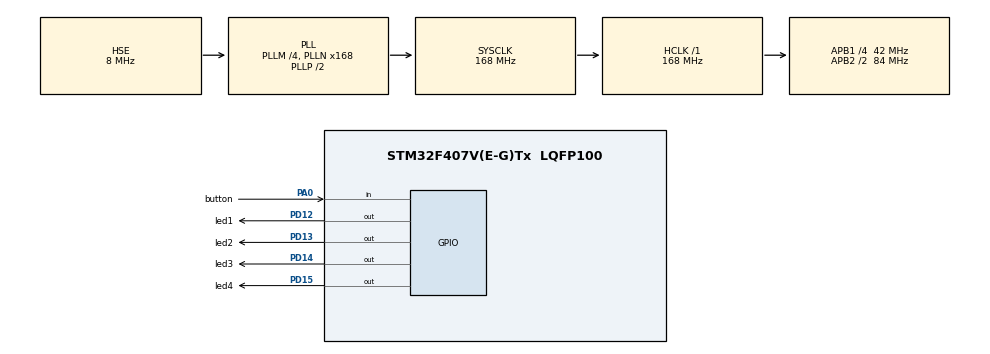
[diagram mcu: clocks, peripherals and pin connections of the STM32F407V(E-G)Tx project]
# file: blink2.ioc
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Mcu.Family=STM32F4
Mcu.Name=STM32F407V(E-G)Tx
Mcu.Package=LQFP100
NVIC.PriorityGroup=NVIC_PRIORITYGROUP_4
PA0-WKUP.GPIO_Label=button
PA0-WKUP.GPIO_PuPd=GPIO_PULLDOWN
PA0-WKUP.Signal=GPIO_Input
PA13.Mode=Serial_Wire
PA13.Signal=SYS_JTMS-SWDIO
PA14.Mode=Serial_Wire
PA14.Signal=SYS_JTCK-SWCLK
PD12.GPIO_Label=led1
PD12.GPIO_Speed=GPIO_SPEED_FREQ_VERY_HIGH
PD12.Signal=GPIO_Output
PD13.GPIO_Label=led2
PD13.GPIO_Speed=GPIO_SPEED_FREQ_VERY_HIGH
PD13.Signal=GPIO_Output
PD14.GPIO_Label=led3
PD14.GPIO_Speed=GPIO_SPEED_FREQ_VERY_HIGH
PD14.Signal=GPIO_Output
PD15.GPIO_Label=led4
PD15.GPIO_Speed=GPIO_SPEED_FREQ_VERY_HIGH
PD15.Signal=GPIO_Output
PH0-OSC_IN.Mode=HSE-External-Oscillator
PH0-OSC_IN.Signal=RCC_OSC_IN
PH1-OSC_OUT.Mode=HSE-External-Oscillator
PH1-OSC_OUT.Signal=RCC_OSC_OUT
ProjectManager.HeapSize=0x200
ProjectManager.StackSize=0x400
ProjectManager.TargetToolchain=MDK-ARM V5.27
RCC.48MHZClocksFreq_Value=84000000
RCC.AHBFreq_Value=168000000
RCC.APB1CLKDivider=RCC_HCLK_DIV4
RCC.APB1Freq_Value=42000000
RCC.APB1TimFreq_Value=84000000
RCC.APB2CLKDivider=RCC_HCLK_DIV2
RCC.APB2Freq_Value=84000000
RCC.APB2TimFreq_Value=168000000
RCC.CortexFreq_Value=168000000
RCC.HCLKFreq_Value=168000000
RCC.HSE_VALUE=8000000
RCC.HSI_VALUE=16000000
RCC.LSE_VALUE=32768
RCC.PLLM=4
RCC.PLLN=168
RCC.PLLSourceVirtual=RCC_PLLSOURCE_HSE
RCC.SYSCLKFreq_VALUE=168000000
RCC.SYSCLKSource=RCC_SYSCLKSOURCE_PLLCLK
RCC.VCOOutputFreq_Value=336000000
board=custom

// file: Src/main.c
/* USER CODE BEGIN Header */
/**
  ******************************************************************************
  * @file           : main.c
  * @brief          : Main program body
  ******************************************************************************
  * @attention
  *
  * <h2><center>&copy; Copyright (c) 2020 STMicroelectronics.
  * All rights reserved.</center></h2>
  *
  * This software component is licensed by ST under BSD 3-Clause license,
  * the "License"; You may not use this file except in compliance with the
  * License. You may obtain a copy of the License at:
  *                        opensource.org/licenses/BSD-3-Clause
  *
  ******************************************************************************
  */
/* USER CODE END Header */

#include "main.h"

/* USER CODE BEGIN PV */
int count = 0;
/* USER CODE END PV */

void SystemClock_Config(void);
static void MX_GPIO_Init(void);

int main(void)
{

  /* MCU Configuration--------------------------------------------------------*/

  /* Reset of all peripherals, Initializes the Flash interface and the Systick. */
  HAL_Init();

  /* Configure the system clock */
  SystemClock_Config();

  /* Initialize all configured peripherals */
  MX_GPIO_Init();

  /* Infinite loop */
  while (1)
  {

    /* USER CODE BEGIN 3 */
		if(HAL_GPIO_ReadPin(GPIOA,GPIO_PIN_0)){
			while(HAL_GPIO_ReadPin(GPIOA,GPIO_PIN_0));
			HAL_Delay(500);
			count++;
		}
		if(count %3==0){
			HAL_GPIO_WritePin(GPIOD,led2_Pin|led4_Pin, GPIO_PIN_RESET);
			HAL_GPIO_WritePin(GPIOD,led1_Pin|led3_Pin, GPIO_PIN_RESET);
			HAL_Delay(500);
		}
		else if(count %3==1){
			HAL_GPIO_WritePin(GPIOD,led1_Pin, GPIO_PIN_SET);
			HAL_Delay(250);
			HAL_GPIO_WritePin(GPIOD,led4_Pin, GPIO_PIN_RESET);
			HAL_Delay(750);
			HAL_GPIO_WritePin(GPIOD,led2_Pin, GPIO_PIN_SET);
			HAL_Delay(250);
			HAL_GPIO_WritePin(GPIOD,led1_Pin, GPIO_PIN_RESET);
			HAL_Delay(750);
			HAL_GPIO_WritePin(GPIOD,led3_Pin, GPIO_PIN_SET);
			HAL_Delay(250);
			HAL_GPIO_WritePin(GPIOD,led2_Pin, GPIO_PIN_RESET);
			HAL_Delay(750);
			HAL_GPIO_WritePin(GPIOD,led4_Pin, GPIO_PIN_SET);
			HAL_Delay(250);
			HAL_GPIO_WritePin(GPIOD,led3_Pin, GPIO_PIN_RESET);
			HAL_Delay(750);

			}
		else if(count %3==2) {
			HAL_GPIO_WritePin(GPIOD,led1_Pin, GPIO_PIN_SET);
			HAL_Delay(250);
			HAL_GPIO_WritePin(GPIOD,led2_Pin, GPIO_PIN_RESET);
			HAL_Delay(750);
			HAL_GPIO_WritePin(GPIOD,led4_Pin, GPIO_PIN_SET);
			HAL_Delay(250);
			HAL_GPIO_WritePin(GPIOD,led1_Pin, GPIO_PIN_RESET);
			HAL_Delay(750);
			HAL_GPIO_WritePin(GPIOD,led3_Pin, GPIO_PIN_SET);
			HAL_Delay(250);
			HAL_GPIO_WritePin(GPIOD,led4_Pin, GPIO_PIN_RESET);
			HAL_Delay(750);
			HAL_GPIO_WritePin(GPIOD,led2_Pin, GPIO_PIN_SET);
			HAL_Delay(250);
			HAL_GPIO_WritePin(GPIOD,led3_Pin, GPIO_PIN_RESET);
			HAL_Delay(750);

		}

  }
  /* USER CODE END 3 */
}

void SystemClock_Config(void)
{
  RCC_OscInitTypeDef RCC_OscInitStruct = {0};
  RCC_ClkInitTypeDef RCC_ClkInitStruct = {0};

  /** Configure the main internal regulator output voltage
  */
  __HAL_RCC_PWR_CLK_ENABLE();
  __HAL_PWR_VOLTAGESCALING_CONFIG(PWR_REGULATOR_VOLTAGE_SCALE1);
  /** Initializes the CPU, AHB and APB busses clocks
  */
  RCC_OscInitStruct.OscillatorType = RCC_OSCILLATORTYPE_HSE;
  RCC_OscInitStruct.HSEState = RCC_HSE_ON;
  RCC_OscInitStruct.PLL.PLLState = RCC_PLL_ON;
  RCC_OscInitStruct.PLL.PLLSource = RCC_PLLSOURCE_HSE;
  RCC_OscInitStruct.PLL.PLLM = 4;
  RCC_OscInitStruct.PLL.PLLN = 168;
  RCC_OscInitStruct.PLL.PLLP = RCC_PLLP_DIV2;
  RCC_OscInitStruct.PLL.PLLQ = 4;
  if (HAL_RCC_OscConfig(&RCC_OscInitStruct) != HAL_OK)
  {
    Error_Handler();
  }
  /** Initializes the CPU, AHB and APB busses clocks
  */
  RCC_ClkInitStruct.ClockType = RCC_CLOCKTYPE_HCLK|RCC_CLOCKTYPE_SYSCLK
                              |RCC_CLOCKTYPE_PCLK1|RCC_CLOCKTYPE_PCLK2;
  RCC_ClkInitStruct.SYSCLKSource = RCC_SYSCLKSOURCE_PLLCLK;
  RCC_ClkInitStruct.AHBCLKDivider = RCC_SYSCLK_DIV1;
  RCC_ClkInitStruct.APB1CLKDivider = RCC_HCLK_DIV4;
  RCC_ClkInitStruct.APB2CLKDivider = RCC_HCLK_DIV2;

  if (HAL_RCC_ClockConfig(&RCC_ClkInitStruct, FLASH_LATENCY_5) != HAL_OK)
  {
    Error_Handler();
  }
}

static void MX_GPIO_Init(void)
{
  GPIO_InitTypeDef GPIO_InitStruct = {0};

  /* GPIO Ports Clock Enable */
  __HAL_RCC_GPIOH_CLK_ENABLE();
  __HAL_RCC_GPIOA_CLK_ENABLE();
  __HAL_RCC_GPIOD_CLK_ENABLE();

  /*Configure GPIO pin Output Level */
  HAL_GPIO_WritePin(GPIOD, led1_Pin|led2_Pin|led3_Pin|led4_Pin, GPIO_PIN_RESET);

  /*Configure GPIO pin : button_Pin */
  GPIO_InitStruct.Pin = button_Pin;
  GPIO_InitStruct.Mode = GPIO_MODE_INPUT;
  GPIO_InitStruct.Pull = GPIO_PULLDOWN;
  HAL_GPIO_Init(button_GPIO_Port, &GPIO_InitStruct);

  /*Configure GPIO pins : led1_Pin led2_Pin led3_Pin led4_Pin */
  GPIO_InitStruct.Pin = led1_Pin|led2_Pin|led3_Pin|led4_Pin;
  GPIO_InitStruct.Mode = GPIO_MODE_OUTPUT_PP;
  GPIO_InitStruct.Pull = GPIO_NOPULL;
  GPIO_InitStruct.Speed = GPIO_SPEED_FREQ_VERY_HIGH;
  HAL_GPIO_Init(GPIOD, &GPIO_InitStruct);

}

void Error_Handler(void)
{
}

/************************ (C) COPYRIGHT STMicroelectronics *****END OF FILE****/
